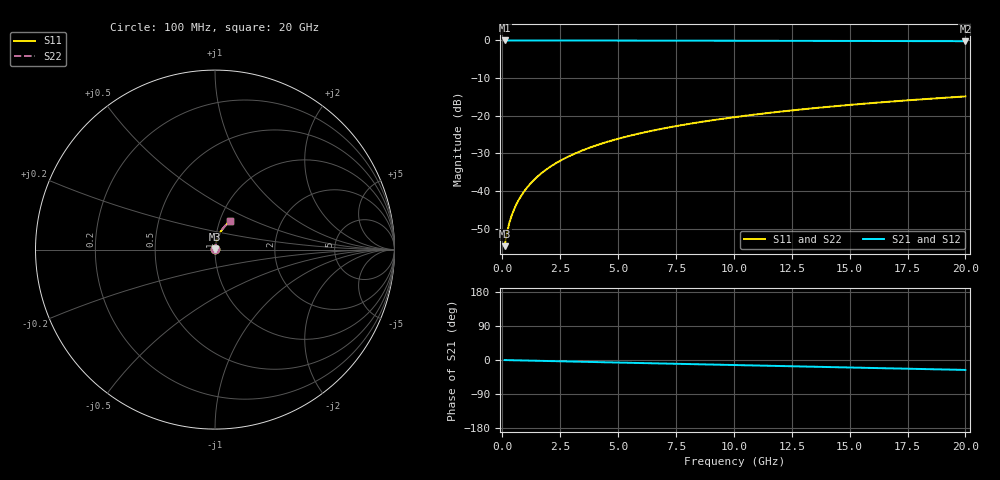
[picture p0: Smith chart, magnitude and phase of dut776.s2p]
! Touchstone file exported from HFSS 2026.1.0
!  File:  C:/ffzhzh/LocalFiles/Ansys_Project_Files/temp_train_BSMRDL_776_1783169292_51560.aedt
!  Generated:  08:49:25 PM Jul  4, 2026
!  Design:  BSMRDL
!  Project:  temp_train_BSMRDL_776_1783169292_51560
! Variables:
!  h_bsmrdl = 4.14um
!  h_ox = 20um
!  h_rdl = 5um
!  h_sub = 80um
!  h_tmrdl = 5um
!  h_tsv = 80um
!  h_via = 3um
!  l_bsmrdl = 398.84um
!  l_sub = 798.84um
!  l_tmrdl = 200um
!  m_sub = 200um
!  pitch = 45.96um
!  r_tsv = 6um
!  s_tmrdl = 10um
!  w_bsmrdl = 28.89um
!  w_sub = 500um
!  w_tmrdl = 12um
!  x_tsv_center1 = 206um
!  x_tsv_center2 = 633.73um
!  x_tsv_center3 = 845.73um
!  x_tsv_center4 = 1273.46um
!  x_tsv_center5 = 1485.46um
!  x_tsv_center6 = 1913.19um
# GHz S MA R 50.000000
! Terminal data exported
! Port[1] = BSM_RDL1_1_T1
! Port[2] = BSM_RDL1_1_T2
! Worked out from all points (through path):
!   200 points, 100 MHz to 20 GHz, reference 50 ohm
!   highest |S21| = -0.01 dB at 100 MHz (marker M1); lowest = -0.2 dB at 20 GHz (marker M2)
!   group delay of S21, straight-line fit = 3.63 ps
!   lowest |S11| = -54.6 dB at 100 MHz (marker M3), VSWR 1.00, Z = 50.1 + j0.12 ohm
!   |S11| at or under -10 dB: start of sweep to end of sweep
!   |S22| runs from -54.6 to -14.9 dB; largest |S21 - S12| = 3.4e-15
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0.1  0.001863 40.0  0.9986 -0.1  0.9986 -0.1  0.001863 40.0
! Gamma 0 0 0 0
! Port Impedance 50 0 50 0
0.2  0.002789 55.8  0.9984 -0.3  0.9984 -0.3  0.002789 55.8
0.3  0.003747 62.9  0.9983 -0.4  0.9983 -0.4  0.003747 62.9
0.4  0.004696 67.2  0.9982 -0.6  0.9982 -0.6  0.004696 67.2
0.5  0.005644 70.3  0.9982 -0.7  0.9982 -0.7  0.005644 70.3
0.6  0.006597 72.5  0.9981 -0.8  0.9981 -0.8  0.006597 72.5
0.8  0.008525 75.6  0.998 -1.1  0.998 -1.1  0.008525 75.6
1.1  0.01146 78.2  0.9979 -1.5  0.9979 -1.5  0.01146 78.2
1.3  0.01343 79.2  0.9979 -1.8  0.9979 -1.8  0.01343 79.2
1.6  0.0164 80.2  0.9977 -2.2  0.9977 -2.2  0.0164 80.2
2.1  0.02135 80.9  0.9975 -2.9  0.9975 -2.9  0.02136 80.9
2.7  0.02728 81.0  0.9971 -3.7  0.9971 -3.7  0.02728 81.0
3.5  0.03511 80.6  0.9965 -4.7  0.9965 -4.7  0.03511 80.6
4.2  0.04189 80.0  0.996 -5.7  0.996 -5.7  0.04189 80.0
5  0.04954 79.2  0.9953 -6.7  0.9953 -6.7  0.04954 79.2
5.9  0.05805 78.2  0.9944 -7.9  0.9944 -7.9  0.05805 78.2
6.8  0.06646 77.2  0.9935 -9.1  0.9935 -9.1  0.06646 77.2
8.3  0.08028 75.5  0.9919 -11.1  0.9919 -11.1  0.08028 75.5
10.1  0.09657 73.3  0.9899 -13.4  0.9899 -13.4  0.09657 73.3
13.4  0.1257 69.4  0.9858 -17.7  0.9858 -17.7  0.1257 69.4
16.7  0.1537 65.4  0.9812 -22.0  0.9812 -22.0  0.1537 65.4
20  0.1805 61.5  0.976 -26.2  0.976 -26.2  0.1805 61.5
